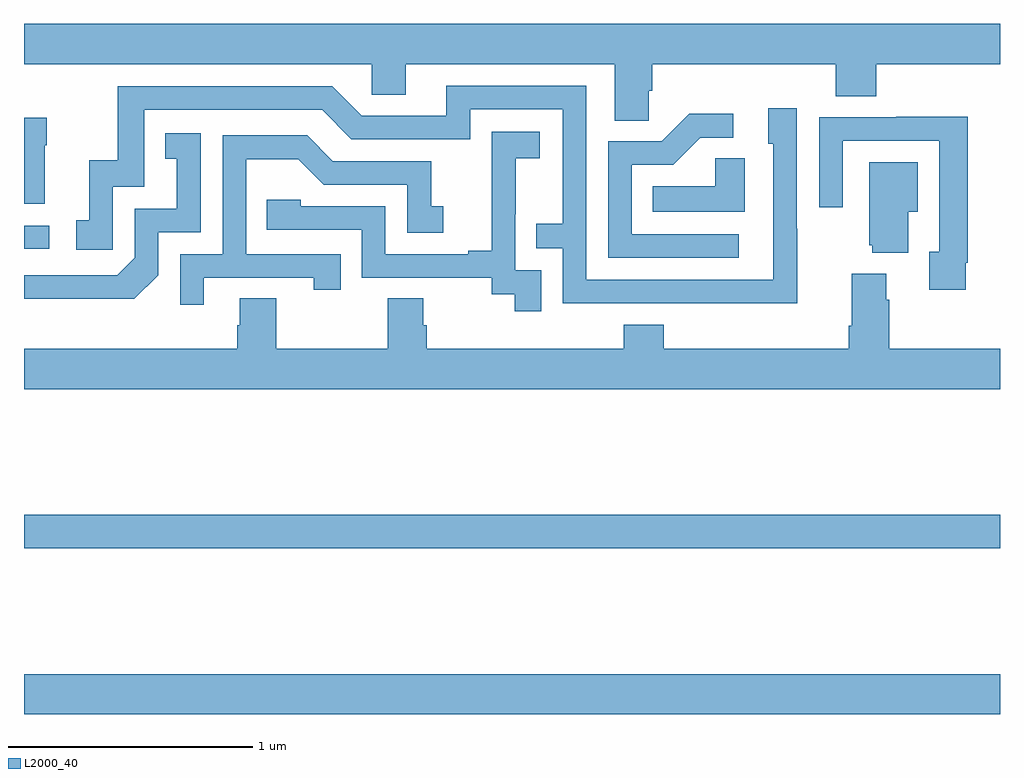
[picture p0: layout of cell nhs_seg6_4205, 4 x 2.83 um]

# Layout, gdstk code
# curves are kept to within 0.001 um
import gdstk
lib = gdstk.Library(unit=1e-6, precision=1e-09)
def R(c, l, rs):  # rectangles x0, y0, x1, y1
    for r in rs: c.add(gdstk.rectangle(r[:2], r[2:], *l))
def P(c, l, *ps):  # polygons
    for p in ps: c.add(gdstk.Polygon(p, *l))
L2000_40 = (2000, 40)

nhs_seg6_4205 = lib.new_cell('nhs_seg6_4205')
R(nhs_seg6_4205, L2000_40, [(359,950,363,950.164), (359,950.68,363,950.816), (359,951.906,359.104,952.002)])
P(nhs_seg6_4205, L2000_40, [(361.56,952.555),(361.574,952.555),(361.574,952.664),(362.327,952.664),(362.327,952.531),(362.492,952.531),(362.492,952.664),(363,952.664),(363,952.828),(359,952.828),(359,952.664),(360.426,952.664),(360.426,952.537),(360.565,952.537),(360.565,952.664),(361.421,952.664),(361.421,952.432),(361.56,952.432)],
  [(362.169,951.989),(362.166,951.989),(362.166,952.483),(362.051,952.483),(362.051,952.338),(362.07,952.338),(362.07,951.78),(361.305,951.78),(361.305,952.575),(360.731,952.575),(360.731,952.452),(360.384,952.452),(360.264,952.572),(359.385,952.572),(359.385,952.27),(359.267,952.27),(359.267,952.023),(359.214,952.023),(359.214,951.903),(359.364,951.903),(359.364,952.161),(359.493,952.161),(359.493,952.476),(360.222,952.476),(360.342,952.356),(360.828,952.356),(360.828,952.479),(361.209,952.479),(361.209,952.01),(361.099,952.01),(361.099,951.909),(361.209,951.909),(361.209,951.684),(362.169,951.683)],
  [(361.93,951.966),(361.491,951.966),(361.491,952.251),(361.66,952.251),(361.771,952.362),(361.906,952.362),(361.906,952.46),(361.727,952.46),(361.614,952.347),(361.395,952.347),(361.395,951.87),(361.93,951.87)],
  [(362.86,951.85),(362.867,951.85),(362.867,952.448),(362.575,952.448),(362.575,952.446),(362.259,952.446),(362.259,952.077),(362.355,952.077),(362.355,952.35),(362.751,952.35),(362.751,951.894),(362.711,951.894),(362.711,951.738),(362.86,951.738)],
  [(359.086,952.331),(359.094,952.331),(359.094,952.444),(359,952.444),(359,952.091),(359.086,952.091)],
  [(361.119,951.819),(361.014,951.819),(361.014,952.049),(361.016,952.049),(361.016,952.277),(361.114,952.277),(361.114,952.387),(360.916,952.387),(360.916,952.181),(360.917,952.181),(360.917,951.898),(360.821,951.898),(360.821,951.885),(360.48,951.885),(360.48,952.08),(360.135,952.08),(360.135,952.107),(359.995,952.107),(359.995,951.984),(360.384,951.984),(360.384,951.789),(360.918,951.789),(360.918,951.721),(361.011,951.721),(361.011,951.651),(361.119,951.651)],
  [(359.55,951.798),(359.55,951.975),(359.724,951.975),(359.724,952.381),(359.578,952.381),(359.578,952.275),(359.627,952.275),(359.627,952.071),(359.454,952.071),(359.454,951.87),(359.382,951.798),(359,951.798),(359,951.702),(359.044,951.701),(359.452,951.701)],
  [(359.737,951.789),(360.188,951.789),(360.188,951.738),(360.299,951.738),(360.299,951.885),(359.91,951.885),(359.91,952.274),(360.124,952.274),(360.228,952.17),(360.57,952.17),(360.57,951.972),(360.718,951.972),(360.718,952.081),(360.669,952.081),(360.669,952.266),(360.265,952.266),(360.16,952.371),(359.814,952.371),(359.814,951.885),(359.64,951.885),(359.64,951.678),(359.737,951.678)],
  [(361.954,952.277),(361.833,952.277),(361.833,952.162),(361.576,952.162),(361.576,952.058),(361.954,952.058)],
  [(362.623,952.058),(362.662,952.058),(362.662,952.261),(362.465,952.261),(362.465,951.921),(362.477,951.921),(362.477,951.89),(362.623,951.89)],
  [(363,951.496),(362.546,951.496),(362.546,951.698),(362.533,951.698),(362.533,951.805),(362.393,951.805),(362.393,951.592),(362.381,951.592),(362.381,951.496),(361.622,951.496),(361.622,951.595),(361.457,951.595),(361.457,951.496),(360.65,951.496),(360.65,951.594),(360.637,951.594),(360.637,951.704),(360.49,951.704),(360.49,951.496),(360.033,951.496),(360.033,951.704),(359.885,951.704),(359.885,951.594),(359.873,951.594),(359.873,951.496),(359,951.496),(359,951.332),(363,951.332)])

lib.write_gds('nhs_seg6_4205.gds')
